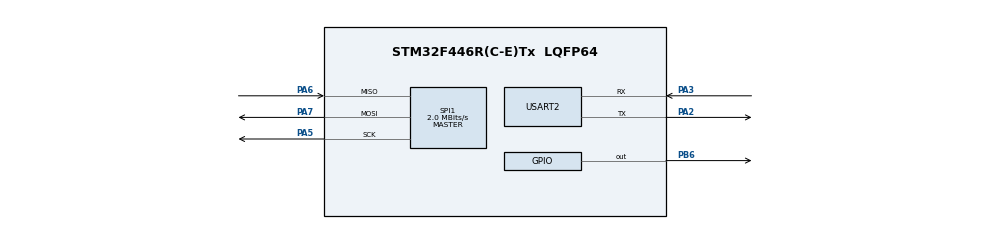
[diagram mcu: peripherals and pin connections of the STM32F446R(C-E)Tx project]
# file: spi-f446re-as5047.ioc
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Mcu.Family=STM32F4
Mcu.Name=STM32F446R(C-E)Tx
Mcu.Package=LQFP64
NVIC.PriorityGroup=NVIC_PRIORITYGROUP_4
PA2.Mode=Asynchronous
PA2.Signal=USART2_TX
PA3.Mode=Asynchronous
PA3.Signal=USART2_RX
PA5.Mode=Full_Duplex_Master
PA5.Signal=SPI1_SCK
PA6.Mode=Full_Duplex_Master
PA6.Signal=SPI1_MISO
PA7.Mode=Full_Duplex_Master
PA7.Signal=SPI1_MOSI
PB6.Signal=GPIO_Output
ProjectManager.HeapSize=0x200
ProjectManager.StackSize=0x400
ProjectManager.TargetToolchain=STM32CubeIDE
RCC.CortexFreq_Value=16000000
RCC.USBFreq_Value=96000000
RCC.VCOOutputFreq_Value=192000000
SPI1.BaudRatePrescaler=SPI_BAUDRATEPRESCALER_8
SPI1.CalculateBaudRate=2.0 MBits/s
SPI1.DataSize=SPI_DATASIZE_16BIT
SPI1.Direction=SPI_DIRECTION_2LINES
SPI1.Mode=SPI_MODE_MASTER
SPI1.VirtualType=VM_MASTER
USART2.VirtualMode=VM_ASYNC
board=custom

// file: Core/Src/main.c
/* USER CODE BEGIN Header */
/**
  ******************************************************************************
  * @file           : main.c
  * @brief          : Main program body
  ******************************************************************************
  * @attention
  *
  * <h2><center>&copy; Copyright (c) 2021 STMicroelectronics.
  * All rights reserved.</center></h2>
  *
  * This software component is licensed by ST under BSD 3-Clause license,
  * the "License"; You may not use this file except in compliance with the
  * License. You may obtain a copy of the License at:
  *                        opensource.org/licenses/BSD-3-Clause
  *
  ******************************************************************************
  */
/* USER CODE END Header */
#include "main.h"

/* USER CODE BEGIN Includes */
#include <stdio.h>
/* USER CODE END Includes */

SPI_HandleTypeDef hspi1;

UART_HandleTypeDef huart2;

/* USER CODE BEGIN PV */
const uint16_t  OP_READ = 0x4000;
const uint16_t  PARITY_EVEN	= 0x0000;
const uint16_t  PARITY_ODD = 0x8000;
const uint16_t  ADDR_NOP = 0x0000;
const uint16_t  ADDR_ERRFL = 0x0001;
const uint16_t  ADDR_ANGLECOM = 0x3FFF;
const uint16_t  CMD_R_ANGLECOM = (PARITY_ODD  | OP_READ | ADDR_ANGLECOM);
const uint16_t  CMD_R_NOP = (PARITY_ODD  | OP_READ | ADDR_NOP);
const uint16_t  CMD_R_ERRFL = (PARITY_EVEN | OP_READ | ADDR_ERRFL);
const uint16_t  csPin = GPIO_PIN_6; // pin 9 is used for selecting the first encoder
uint16_t x;
float angle;
/* USER CODE END PV */

void SystemClock_Config(void);
static void MX_GPIO_Init(void);
static void MX_SPI1_Init(void);
static void MX_USART2_UART_Init(void);

int main(void)
{
  /* USER CODE BEGIN 1 */
	uint16_t uart_buf[50];
	int uart_buf_len;
	uint16_t spi_buf[20];
  /* USER CODE END 1 */

  /* MCU Configuration--------------------------------------------------------*/

  /* Reset of all peripherals, Initializes the Flash interface and the Systick. */
  HAL_Init();

  /* Configure the system clock */
  SystemClock_Config();

  /* Initialize all configured peripherals */
  MX_GPIO_Init();
  MX_SPI1_Init();
  MX_USART2_UART_Init();
  /* USER CODE BEGIN 2 */
  //here starts the Arduino code
  HAL_GPIO_WritePin(GPIOB, csPin, GPIO_PIN_SET);

  //0x0001
  HAL_GPIO_WritePin(GPIOB, csPin, GPIO_PIN_RESET);
  HAL_SPI_Transmit(&hspi1, (uint8_t*)&ADDR_ERRFL, 2, 100);
  HAL_SPI_Receive(&hspi1, (uint8_t*)spi_buf, 2, 100);		//store answer in spi_buf
  HAL_GPIO_WritePin(GPIOB, GPIO_PIN_6, GPIO_PIN_SET);
  uart_buf_len = sprintf(uart_buf, "%d\r\n", (unsigned int)spi_buf[0]); //print data
  HAL_UART_Transmit(&huart2, (uint8_t*)uart_buf, uart_buf_len, 100);

  //0x0007
  const uint16_t second_value = 0x0007;
  HAL_GPIO_WritePin(GPIOB, csPin, GPIO_PIN_RESET);
  HAL_SPI_Transmit(&hspi1, (uint8_t*)&second_value, 2, 100);
  HAL_SPI_Receive(&hspi1, (uint8_t*)spi_buf, 2, 100);
  HAL_GPIO_WritePin(GPIOB, GPIO_PIN_6, GPIO_PIN_SET);
  uart_buf_len = sprintf(uart_buf, "%d\r\n", (unsigned int)spi_buf[0]);
  HAL_UART_Transmit(&huart2, (uint8_t*)uart_buf, uart_buf_len, 100);

  //CMD_R_ERRFL
  HAL_GPIO_WritePin(GPIOB, csPin, GPIO_PIN_RESET);
  HAL_SPI_Transmit(&hspi1, (uint8_t*)&CMD_R_ERRFL, 2, 100);
  HAL_SPI_Receive(&hspi1, (uint8_t*)spi_buf, 2, 100);
  HAL_GPIO_WritePin(GPIOB, GPIO_PIN_6, GPIO_PIN_SET);
  uart_buf_len = sprintf(uart_buf, "%d\r\n", (unsigned int)spi_buf[0]);
  HAL_UART_Transmit(&huart2, (uint8_t*)uart_buf, uart_buf_len, 100);

  //CMD_R_NOP
  HAL_GPIO_WritePin(GPIOB, csPin, GPIO_PIN_RESET);
  HAL_SPI_Transmit(&hspi1, (uint8_t*)&CMD_R_NOP, 2, 100);
  HAL_SPI_Receive(&hspi1, (uint8_t*)spi_buf, 2, 100);
  HAL_GPIO_WritePin(GPIOB, GPIO_PIN_6, GPIO_PIN_SET);
  uart_buf_len = sprintf(uart_buf, "%d\r\n", (unsigned int)spi_buf[0]);
  HAL_UART_Transmit(&huart2, (uint8_t*)uart_buf, uart_buf_len, 100);
  /* USER CODE END 2 */

  /* Infinite loop */
  while (1)
  {
	  //CMD_R_ANGLECOM
	  HAL_GPIO_WritePin(GPIOB, csPin, GPIO_PIN_RESET);
	  HAL_SPI_Transmit(&hspi1, (uint8_t*)&CMD_R_ANGLECOM, 2, 100);
	  HAL_SPI_Receive(&hspi1, (uint8_t*)spi_buf, 2, 100);
	  HAL_GPIO_WritePin(GPIOB, GPIO_PIN_6, GPIO_PIN_SET);
	  uart_buf_len = sprintf(uart_buf, "%d\r\n", (unsigned int)spi_buf[0]);
	  HAL_UART_Transmit(&huart2, (uint8_t*)uart_buf, uart_buf_len, 100);

	  //CMD_R_NOP
	  HAL_GPIO_WritePin(GPIOB, csPin, GPIO_PIN_RESET);
	  HAL_SPI_Transmit(&hspi1, (uint8_t*)&CMD_R_NOP, 2, 100);
	  HAL_SPI_Receive(&hspi1, (uint8_t*)spi_buf, 2, 100);
	  HAL_GPIO_WritePin(GPIOB, GPIO_PIN_6, GPIO_PIN_SET);
	  uart_buf_len = sprintf(uart_buf, "%d\r\n", (unsigned int)spi_buf[0]);
	  HAL_UART_Transmit(&huart2, (uint8_t*)uart_buf, uart_buf_len, 100);

	  x = spi_buf[0];
	  x &= ~(1UL << 15);
	  x &= ~(1UL << 14);

	  //print angle in float type
	  uart_buf_len = sprintf(uart_buf, "Angle = ");
	  HAL_UART_Transmit(&huart2, (uint8_t*)uart_buf, uart_buf_len, 100);
	  angle = x/16384.0*360.0;
	  uart_buf_len = sprintf(uart_buf, "%0.2f", angle);
	  HAL_UART_Transmit(&huart2, (uint8_t*)uart_buf, uart_buf_len, 100);

  }
}

void SystemClock_Config(void)
{
  RCC_OscInitTypeDef RCC_OscInitStruct = {0};
  RCC_ClkInitTypeDef RCC_ClkInitStruct = {0};

  /** Configure the main internal regulator output voltage
  */
  __HAL_RCC_PWR_CLK_ENABLE();
  __HAL_PWR_VOLTAGESCALING_CONFIG(PWR_REGULATOR_VOLTAGE_SCALE3);
  /** Initializes the RCC Oscillators according to the specified parameters
  * in the RCC_OscInitTypeDef structure.
  */
  RCC_OscInitStruct.OscillatorType = RCC_OSCILLATORTYPE_HSI;
  RCC_OscInitStruct.HSIState = RCC_HSI_ON;
  RCC_OscInitStruct.HSICalibrationValue = RCC_HSICALIBRATION_DEFAULT;
  RCC_OscInitStruct.PLL.PLLState = RCC_PLL_NONE;
  if (HAL_RCC_OscConfig(&RCC_OscInitStruct) != HAL_OK)
  {
    Error_Handler();
  }
  /** Initializes the CPU, AHB and APB buses clocks
  */
  RCC_ClkInitStruct.ClockType = RCC_CLOCKTYPE_HCLK|RCC_CLOCKTYPE_SYSCLK
                              |RCC_CLOCKTYPE_PCLK1|RCC_CLOCKTYPE_PCLK2;
  RCC_ClkInitStruct.SYSCLKSource = RCC_SYSCLKSOURCE_HSI;
  RCC_ClkInitStruct.AHBCLKDivider = RCC_SYSCLK_DIV1;
  RCC_ClkInitStruct.APB1CLKDivider = RCC_HCLK_DIV1;
  RCC_ClkInitStruct.APB2CLKDivider = RCC_HCLK_DIV1;

  if (HAL_RCC_ClockConfig(&RCC_ClkInitStruct, FLASH_LATENCY_0) != HAL_OK)
  {
    Error_Handler();
  }
}

static void MX_SPI1_Init(void)
{

  /* SPI1 parameter configuration*/
  hspi1.Instance = SPI1;
  hspi1.Init.Mode = SPI_MODE_MASTER;
  hspi1.Init.Direction = SPI_DIRECTION_2LINES;
  hspi1.Init.DataSize = SPI_DATASIZE_16BIT;
  hspi1.Init.CLKPolarity = SPI_POLARITY_LOW;
  hspi1.Init.CLKPhase = SPI_PHASE_1EDGE;
  hspi1.Init.NSS = SPI_NSS_SOFT;
  hspi1.Init.BaudRatePrescaler = SPI_BAUDRATEPRESCALER_8;
  hspi1.Init.FirstBit = SPI_FIRSTBIT_MSB;
  hspi1.Init.TIMode = SPI_TIMODE_DISABLE;
  hspi1.Init.CRCCalculation = SPI_CRCCALCULATION_DISABLE;
  hspi1.Init.CRCPolynomial = 10;
  if (HAL_SPI_Init(&hspi1) != HAL_OK)
  {
    Error_Handler();
  }

}

static void MX_USART2_UART_Init(void)
{

  huart2.Instance = USART2;
  huart2.Init.BaudRate = 115200;
  huart2.Init.WordLength = UART_WORDLENGTH_8B;
  huart2.Init.StopBits = UART_STOPBITS_1;
  huart2.Init.Parity = UART_PARITY_NONE;
  huart2.Init.Mode = UART_MODE_TX_RX;
  huart2.Init.HwFlowCtl = UART_HWCONTROL_NONE;
  huart2.Init.OverSampling = UART_OVERSAMPLING_16;
  if (HAL_UART_Init(&huart2) != HAL_OK)
  {
    Error_Handler();
  }

}

static void MX_GPIO_Init(void)
{
  GPIO_InitTypeDef GPIO_InitStruct = {0};

  /* GPIO Ports Clock Enable */
  __HAL_RCC_GPIOA_CLK_ENABLE();
  __HAL_RCC_GPIOB_CLK_ENABLE();

  /*Configure GPIO pin Output Level */
  HAL_GPIO_WritePin(GPIOB, GPIO_PIN_6, GPIO_PIN_RESET);

  /*Configure GPIO pin : PB6 */
  GPIO_InitStruct.Pin = GPIO_PIN_6;
  GPIO_InitStruct.Mode = GPIO_MODE_OUTPUT_PP;
  GPIO_InitStruct.Pull = GPIO_NOPULL;
  GPIO_InitStruct.Speed = GPIO_SPEED_FREQ_LOW;
  HAL_GPIO_Init(GPIOB, &GPIO_InitStruct);

}

void Error_Handler(void)
{
  __disable_irq();
  while (1)
  {
  }
}

/************************ (C) COPYRIGHT STMicroelectronics *****END OF FILE****/
